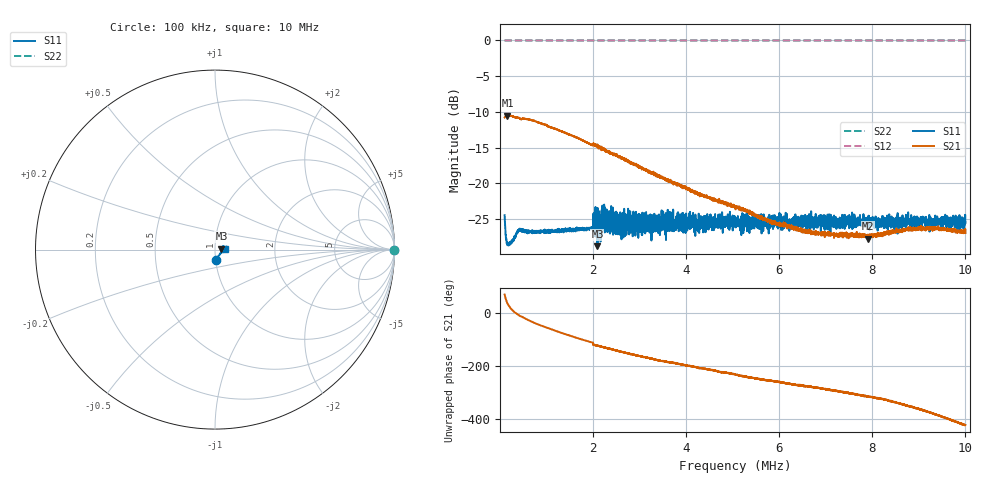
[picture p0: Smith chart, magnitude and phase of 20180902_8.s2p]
! Anritsu VNA Master:  Model: MS2026C/19
! SN:  1815009
! /card0/usr/20180902_8.s2p
! Existing Calibration Information:
! TYPE:  Current Settings,  Active Cal Settings
! TIME:  09/02/2018 12:39:47 PM,  09/02/2018 11:58:48 AM
! INTERNAL TEMP:  53.0 C,  48.8 C
! # POINTS:  4001,  4001
! START FREQ:  100.000 kHz,  100.000 kHz
! STOP FREQ:  10.000 MHz,  10.000 MHz
! SOURCE POWER:  Low,  Low
! IFBW:  500 Hz,  500 Hz
! AVG FACTOR:  5 ,  1
! REF PLANE 1:  0 mm,  0 mm
! REF PLANE 2:  0 mm,  0 mm
! CAL TYPE:  1P2P S11,S21,  1P2P S11,S21
! CAL METHOD:  SOLT,  SOLT
! CAL LINE TYPE:  Coax,  Coax
! DUT PORT 1:  N-Conn(M),  N-Conn(M)
! DUT PORT 2:  N-Conn(M),  N-Conn(M)
! CAL STATUS:  OK: Accuracy High,  --
# GHZ S RI R 50.0
! FREQ.GHZ  S11RE  S11IM  S21RE  S21IM  S12RE  S12IM  S22RE  S22IM
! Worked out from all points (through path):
!   4001 points, 100 kHz to 10 MHz, reference 50 ohm
!   highest |S21| = -10.51 dB at 161.9 kHz (marker M1); lowest = -27.7 dB at 7.906 MHz (marker M2)
!   group delay of S21, straight-line fit = 105 ns
!   lowest |S11| = -28.8 dB at 2.095 MHz (marker M3), VSWR 1.08, Z = 53.7 + j0.651 ohm
!   |S11| at or under -10 dB: start of sweep to end of sweep
!   |S22| runs from 0.0 to 0.0 dB; largest |S21 - S12| = 1.1
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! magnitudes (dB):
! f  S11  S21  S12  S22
! 100 kHz  -24.5  -10.8  0.0  0.0
! 161.9 kHz  -28.5  -10.5  0.0  0.0
! 223.8 kHz  -28.4  -10.5  0.0  0.0
! 429.2 kHz  -26.6  -10.9  0.0  0.0
! 763.3 kHz  -26.7  -11.3  0.0  0.0
! 1.751 MHz  -26.3  -13.9  0.0  0.0
! 1.951 MHz  -26.3  -14.5  0.0  0.0
! 2.095 MHz  -28.8  -14.6  0.0  0.0
! 2.134 MHz  -26.6  -15.0  0.0  0.0
! 2.266 MHz  -26.3  -15.5  0.0  0.0
! 2.573 MHz  -25.5  -16.2  0.0  0.0
! 2.748 MHz  -24.3  -16.9  0.0  0.0
! 3.402 MHz  -27.0  -18.9  0.0  0.0
! 3.515 MHz  -25.6  -19.2  0.0  0.0
! 3.733 MHz  -26.6  -19.9  0.0  0.0
! 5.05 MHz  -25.0  -23.4  0.0  0.0
! 5.976 MHz  -25.9  -25.5  0.0  0.0
! 6.701 MHz  -25.7  -26.8  0.0  0.0
! 7.906 MHz  -24.8  -27.7  0.0  0.0
! 8.352 MHz  -25.3  -26.8  0.0  0.0
! 9.317 MHz  -25.0  -26.1  0.0  0.0
! 10 MHz  -25.5  -26.9  0.0  0.0
